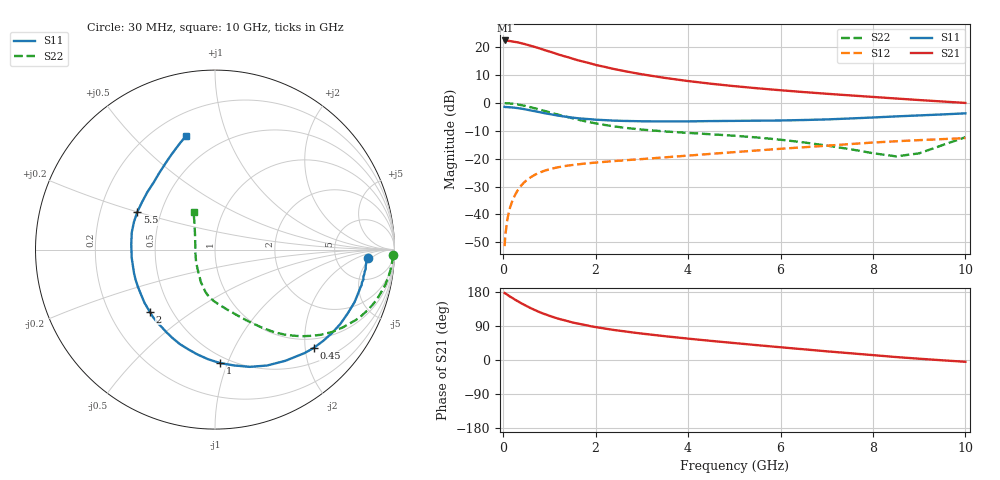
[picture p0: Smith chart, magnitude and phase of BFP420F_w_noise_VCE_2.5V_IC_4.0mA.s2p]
! Infineon Technologies  Discrete & RF Semiconductors
! BFP420F
! VCE =  2.5 V,  IC =  4.0 mA
! Common Emitter S-Parameters:  Sep 2011
# GHz  S  MA  R  50
!  f  S11  S21  S12  S22
! GHz  MAG  ANG  MAG  ANG  MAG  ANG  MAG  ANG
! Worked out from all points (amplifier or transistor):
!   54 points, 30 MHz to 10 GHz, reference 50 ohm
!   highest |S21| = 22.4 dB at 40 MHz (marker M1)
!   |S21| within 3 dB of that: start of sweep to 813.4 MHz
!   unconditionally stable (mu >= 1): 2.715 GHz to end of sweep
!   at 120 MHz: K = 0.07, MSG = 30.9 dB, |S12| = -39.4 dB
!   at 1.3 GHz: K = 0.47, MSG = 19.8 dB, |S12| = -22.7 dB
!   at 10 GHz: K = 1.41, MAG = 2.5 dB, |S12| = -12.6 dB
!   lowest NFmin = 0.90 dB at 450 MHz
!   S11 on the Smith chart (normalised r, x): 30 MHz: 11, -4; 450 MHz: 0.80, -2.19; 1 GHz: 0.45, -0.94; 2 GHz: 0.38, -0.35; 5.5 GHz: 0.37, +0.20; 10 GHz: 0.33, +0.72
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0.03  0.852 -3.2  13.21 176.9  0.0027 90.6  0.9911 -1.8
0.04  0.8461 -4.2  13.23 176.0  0.0036 87.8  0.9907 -2.3
0.1  0.8402 -10.4  13.14 171.2  0.009 84.3  0.9857 -5.9
0.25  0.8205 -25.7  12.46 159.6  0.0218 77.6  0.9563 -14.3
0.35  0.8011 -35.4  12.03 152.6  0.03 72.7  0.9286 -19.6
0.45  0.7771 -44.6  11.48 145.9  0.0374 68.5  0.8952 -24.4
0.6  0.7331 -57.7  10.58 136.5  0.0468 62.5  0.8356 -31.1
0.7  0.708 -65.8  10.04 131.0  0.0524 59.2  0.7979 -35.1
0.8  0.6814 -73.5  9.445 125.6  0.057 56.1  0.7573 -38.8
1  0.633 -87.4  8.368 116.7  0.0647 51.1  0.6815 -45.1
1.2  0.5914 -99.8  7.387 108.7  0.0706 47.1  0.6143 -50.5
1.3  0.575 -105.1  6.983 105.6  0.073 45.6  0.5848 -52.8
1.5  0.5463 -115.7  6.247 99.0  0.0772 43.1  0.5304 -57.0
1.7  0.524 -124.6  5.604 94.1  0.0806 41.2  0.4845 -60.8
2  0.5016 -136.5  4.817 86.9  0.0852 39.3  0.4309 -66.1
2.6  0.4769 -154.3  3.763 76.0  0.0932 37.7  0.3612 -74.8
3.5  0.4664 -174.4  2.815 62.8  0.1059 37.0  0.3086 -85.4
4.5  0.4736 168.2  2.213 50.4  0.1224 36.4  0.2744 -94.6
5.5  0.4812 154.0  1.835 39.1  0.1408 34.9  0.2403 -103.0
7  0.507 132.3  1.463 22.9  0.1713 31.0  0.1721 -120.2
8.5  0.5745 116.0  1.203 7.8  0.2057 24.4  0.1102 -175.5
10  0.6517 104.5  1.002 -4.7  0.2341 16.9  0.2431 119.4
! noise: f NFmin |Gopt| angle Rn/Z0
0.45  0.9  0.29  15  0.18
0.9  0.93  0.3  37  0.18
1.9  1.14  0.23  96  0.14
2.4  1.24  0.24  105  0.15
3.5  1.56  0.28  144  0.16
